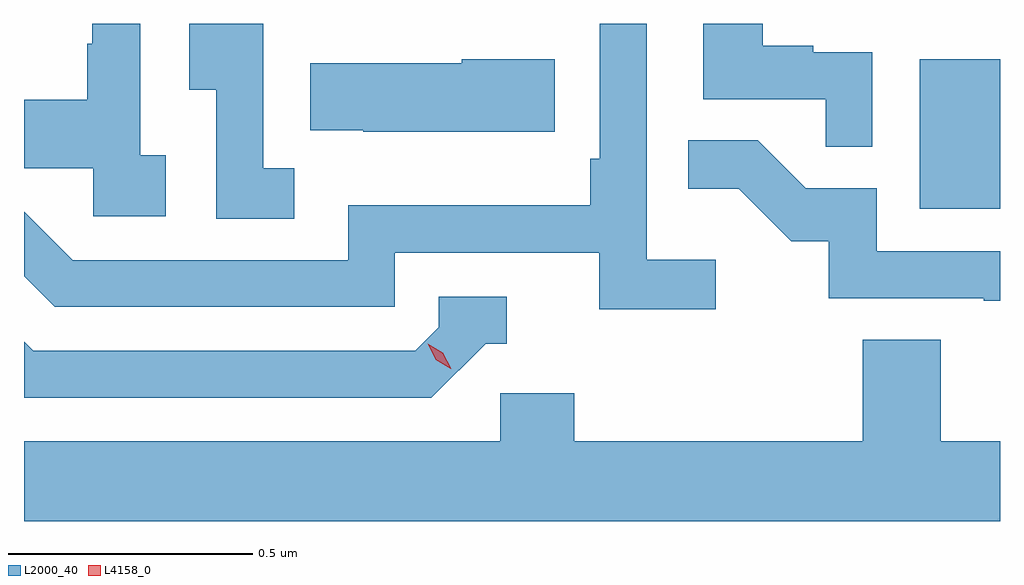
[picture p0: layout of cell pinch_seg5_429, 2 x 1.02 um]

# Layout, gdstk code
import gdstk
lib = gdstk.Library(unit=1e-6, precision=1e-09)
def R(c, l, rs):  # rectangles x0, y0, x1, y1
    for r in rs: c.add(gdstk.rectangle(r[:2], r[2:], *l))
def P(c, l, *ps):  # polygons
    for p in ps: c.add(gdstk.Polygon(p, *l))
L2000_40 = (2000, 40)
L4158_0 = (4158, 0)

pinch_seg5_429 = lib.new_cell('pinch_seg5_429')
R(pinch_seg5_429, L2000_40, [(979.658,858.732,979.822,859.039)])
P(pinch_seg5_429, L2000_40, [(979.24,858.628),(979.098,858.628),(979.098,859.111),(979.002,859.111),(979.002,858.835),(978.982,858.835),(978.982,858.739),(978.486,858.739),(978.486,858.627),(977.922,858.627),(977.823,858.726),(977.822,858.726),(977.822,858.594),(977.885,858.531),(978.582,858.531),(978.582,858.642),(979.001,858.642),(979.001,858.526),(979.24,858.526)],
  [(979.56,859.053),(979.439,859.053),(979.439,859.066),(979.336,859.066),(979.336,859.111),(979.214,859.111),(979.214,858.957),(979.465,858.957),(979.465,858.859),(979.56,858.859)],
  [(978.112,858.842),(978.06,858.842),(978.06,859.111),(977.962,859.111),(977.962,859.07),(977.952,859.07),(977.952,858.955),(977.822,858.955),(977.822,858.815),(977.964,858.815),(977.964,858.717),(978.112,858.717)],
  [(978.376,858.815),(978.312,858.815),(978.312,859.111),(978.161,859.111),(978.161,858.976),(978.216,858.976),(978.216,858.712),(978.376,858.712)],
  [(978.91,859.038),(978.719,859.038),(978.719,859.03),(978.409,859.03),(978.409,858.893),(978.517,858.893),(978.517,858.89),(978.91,858.89)],
  [(979.822,858.645),(979.569,858.645),(979.569,858.774),(979.424,858.774),(979.326,858.872),(979.183,858.872),(979.183,858.773),(979.287,858.773),(979.394,858.666),(979.471,858.666),(979.471,858.549),(979.789,858.549),(979.789,858.544),(979.822,858.544)],
  [(978.768,858.456),(978.811,858.456),(978.811,858.552),(978.672,858.552),(978.672,858.489),(978.624,858.441),(977.841,858.441),(977.822,858.46),(977.822,858.345),(978.657,858.345)],
  [(979.822,858.256),(979.701,858.256),(979.701,858.464),(979.541,858.464),(979.541,858.256),(978.95,858.256),(978.95,858.354),(978.798,858.354),(978.798,858.256),(977.822,858.256),(977.822,858.092),(979.822,858.092)])
P(pinch_seg5_429, L4158_0, [(978.696,858.404),(978.666,858.423),(978.649,858.456),(978.649,858.456),(978.649,858.456),(978.68,858.437),(978.697,858.404),(978.697,858.404)])

lib.write_gds('pinch_seg5_429.gds')
